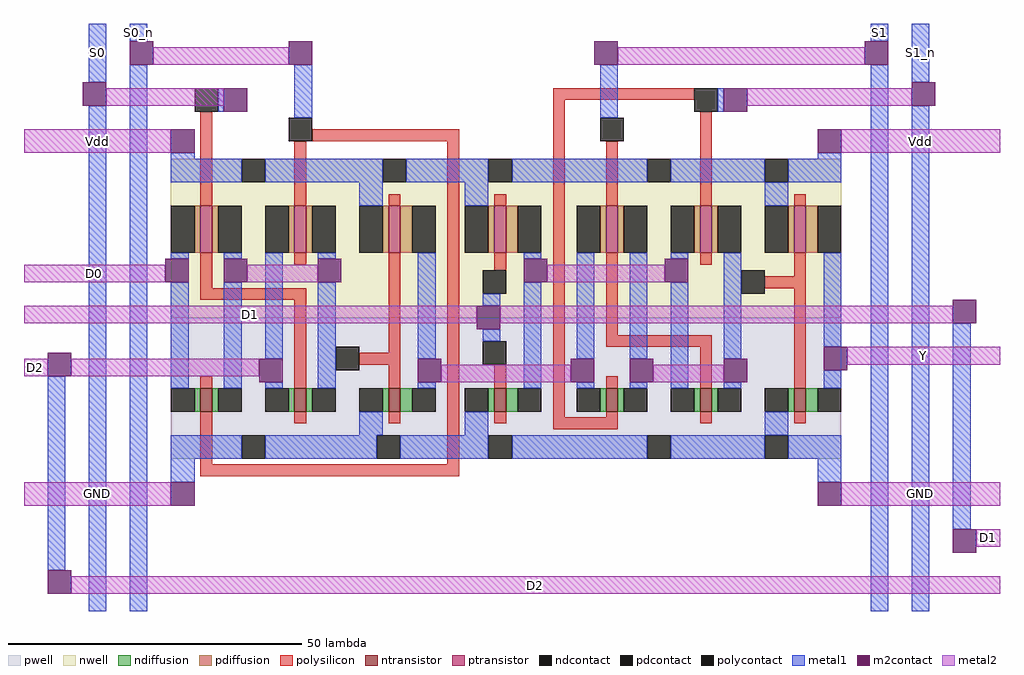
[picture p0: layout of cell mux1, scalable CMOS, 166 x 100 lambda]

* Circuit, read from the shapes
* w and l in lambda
.subckt mux1 D0 D1 D2 GND S0 S0_n S1 S1_n Vdd Y
M1 n1 S0_n D0 VSUBS nfet w=4 l=2
M2 n1 S0 D2 VSUBS nfet w=4 l=2
M3 n2 n1 GND VSUBS nfet w=4 l=2
M4 n3 D1 GND VSUBS nfet w=4 l=2
M5 n4 S1_n n2 VSUBS nfet w=4 l=2
M6 n4 S1 n3 VSUBS nfet w=4 l=2
M7 Y n4 GND VSUBS nfet w=4 l=2
M8 n1 S0 D0 n5 pfet w=8 l=2
M9 n1 S0_n D2 n5 pfet w=8 l=2
M10 n2 n1 Vdd n5 pfet w=8 l=2
M11 n3 D1 Vdd n5 pfet w=8 l=2
M12 n4 S1 n2 n5 pfet w=8 l=2
M13 n4 S1_n n3 n5 pfet w=8 l=2
M14 Y n4 Vdd n5 pfet w=8 l=2
.ends

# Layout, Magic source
magic
tech scmos
<< pwell >>
rect -54 28 60 52
<< nwell >>
rect -54 52 60 79
<< polysilicon >>
rect 11 89 35 91
rect -49 71 -47 87
rect -30 82 -5 84
rect -33 71 -31 82
rect -17 71 -15 73
rect -49 57 -47 63
rect -33 61 -31 63
rect -49 55 -31 57
rect -49 40 -47 42
rect -33 40 -31 55
rect -17 46 -15 63
rect -22 44 -15 46
rect -17 40 -15 44
rect -49 27 -47 36
rect -33 34 -31 36
rect -17 34 -15 36
rect -7 27 -5 82
rect 1 71 3 73
rect 1 60 3 63
rect 1 40 3 44
rect 1 34 3 36
rect 11 35 13 89
rect 20 71 22 82
rect 36 71 38 87
rect 52 71 54 73
rect 20 49 22 63
rect 36 61 38 63
rect 52 59 54 63
rect 47 57 54 59
rect 20 47 38 49
rect 20 40 22 42
rect 36 40 38 47
rect 52 40 54 57
rect 20 35 22 36
rect 11 33 22 35
rect 36 34 38 36
rect 52 34 54 36
rect -49 25 -5 27
<< ndiffusion >>
rect -50 36 -49 40
rect -47 36 -46 40
rect -34 36 -33 40
rect -31 36 -30 40
rect -18 36 -17 40
rect -15 36 -13 40
rect 0 36 1 40
rect 3 36 5 40
rect 19 36 20 40
rect 22 36 23 40
rect 35 36 36 40
rect 38 36 39 40
rect 51 36 52 40
rect 54 36 56 40
<< pdiffusion >>
rect -50 63 -49 71
rect -47 63 -46 71
rect -34 63 -33 71
rect -31 63 -30 71
rect -18 63 -17 71
rect -15 63 -13 71
rect 0 63 1 71
rect 3 63 5 71
rect 19 63 20 71
rect 22 63 23 71
rect 35 63 36 71
rect 38 63 39 71
rect 51 63 52 71
rect 54 63 56 71
<< metal1 >>
rect -68 92 -65 102
rect -75 9 -72 42
rect -68 2 -65 88
rect -61 99 -58 102
rect 65 99 68 102
rect -61 2 -58 95
rect -46 87 -45 91
rect -33 86 -30 95
rect 19 86 22 95
rect 39 87 40 91
rect -54 79 -50 80
rect 56 79 60 80
rect -54 75 -42 79
rect -38 75 -18 79
rect -14 75 0 79
rect 4 75 27 79
rect 31 75 47 79
rect 51 75 60 79
rect -22 71 -18 75
rect -4 71 0 75
rect 47 71 51 75
rect -54 62 -51 63
rect -54 40 -51 58
rect -45 62 -42 63
rect -45 40 -42 58
rect -38 45 -35 63
rect -38 40 -35 41
rect -29 62 -26 63
rect -29 40 -26 58
rect -12 45 -9 63
rect 6 62 9 63
rect -1 54 2 56
rect -1 48 2 50
rect -12 40 -9 41
rect 6 40 9 58
rect 15 45 18 63
rect 15 40 18 41
rect 24 45 27 63
rect 31 62 34 63
rect 24 40 27 41
rect 31 40 34 58
rect 40 45 43 63
rect 57 47 60 63
rect 40 40 43 41
rect 57 40 60 43
rect -22 32 -18 36
rect -4 32 0 36
rect 47 32 51 36
rect -54 28 -42 32
rect -38 28 -19 32
rect -15 28 0 32
rect 4 28 27 32
rect 31 28 47 32
rect 51 28 60 32
rect -54 24 -50 28
rect 56 24 60 28
rect 65 2 68 95
rect 72 92 75 102
rect 72 2 75 88
rect 79 16 82 51
<< metal2 >>
rect -57 95 -34 98
rect 22 95 64 98
rect -65 88 -45 91
rect 44 88 72 91
rect -79 80 -54 84
rect 60 80 87 84
rect -79 58 -55 61
rect -41 58 -29 61
rect 10 58 30 61
rect -79 51 -2 54
rect 2 51 79 54
rect -79 42 -75 45
rect -71 42 -39 45
rect -8 41 14 44
rect 28 41 40 44
rect 61 44 87 47
rect -79 20 -54 24
rect 60 20 87 24
rect 83 13 87 16
rect -71 5 87 8
<< ntransistor >>
rect -49 36 -47 40
rect -33 36 -31 40
rect -17 36 -15 40
rect 1 36 3 40
rect 20 36 22 40
rect 36 36 38 40
rect 52 36 54 40
<< ptransistor >>
rect -49 63 -47 71
rect -33 63 -31 71
rect -17 63 -15 71
rect 1 63 3 71
rect 20 63 22 71
rect 36 63 38 71
rect 52 63 54 71
<< polycontact >>
rect -50 87 -46 91
rect -34 82 -30 86
rect -26 43 -22 47
rect -1 56 3 60
rect -1 44 3 48
rect 35 87 39 91
rect 19 82 23 86
rect 43 56 47 60
<< ndcontact >>
rect -54 36 -50 40
rect -46 36 -42 40
rect -38 36 -34 40
rect -30 36 -26 40
rect -22 36 -18 40
rect -13 36 -9 40
rect -42 28 -38 32
rect -19 28 -15 32
rect -4 36 0 40
rect 5 36 9 40
rect 15 36 19 40
rect 23 36 27 40
rect 31 36 35 40
rect 39 36 43 40
rect 47 36 51 40
rect 56 36 60 40
rect 0 28 4 32
rect 27 28 31 32
rect 47 28 51 32
<< pdcontact >>
rect -42 75 -38 79
rect -18 75 -14 79
rect -54 63 -50 71
rect -46 63 -42 71
rect -38 63 -34 71
rect -30 63 -26 71
rect -22 63 -18 71
rect -13 63 -9 71
rect 0 75 4 79
rect -4 63 0 71
rect 5 63 9 71
rect 27 75 31 79
rect 47 75 51 79
rect 15 63 19 71
rect 23 63 27 71
rect 31 63 35 71
rect 39 63 43 71
rect 47 63 51 71
rect 56 63 60 71
<< m2contact >>
rect -69 88 -65 92
rect -75 42 -71 46
rect -75 5 -71 9
rect -61 95 -57 99
rect -34 95 -30 99
rect 18 95 22 99
rect 64 95 68 99
rect -45 87 -41 91
rect -54 80 -50 84
rect 40 87 44 91
rect 56 80 60 84
rect -55 58 -51 62
rect -45 58 -41 62
rect -39 41 -35 45
rect -29 58 -25 62
rect 6 58 10 62
rect -2 50 2 54
rect -12 41 -8 45
rect 14 41 18 45
rect 30 58 34 62
rect 24 41 28 45
rect 40 41 44 45
rect 57 43 61 47
rect -54 20 -50 24
rect 56 20 60 24
rect 72 88 76 92
rect 79 51 83 55
rect 79 12 83 16
<< labels >>
rlabel metal2 -79 80 -54 84 7 Vdd
rlabel metal2 -79 20 -54 24 7 GND
rlabel metal2 60 80 87 84 3 Vdd
rlabel metal2 60 20 87 24 3 GND
rlabel metal2 -79 58 -55 61 7 D0
rlabel metal2 -79 51 -2 54 7 D1
rlabel metal2 -79 42 -75 45 7 D2
rlabel metal1 -68 92 -65 102 1 S0
rlabel metal1 -61 99 -58 102 1 S0_n
rlabel metal1 65 99 68 102 1 S1
rlabel metal1 72 92 75 102 1 S1_n
rlabel metal2 -71 5 87 8 3 D2
rlabel metal2 83 13 87 16 3 D1
rlabel metal2 61 44 87 47 3 Y
<< end >>
